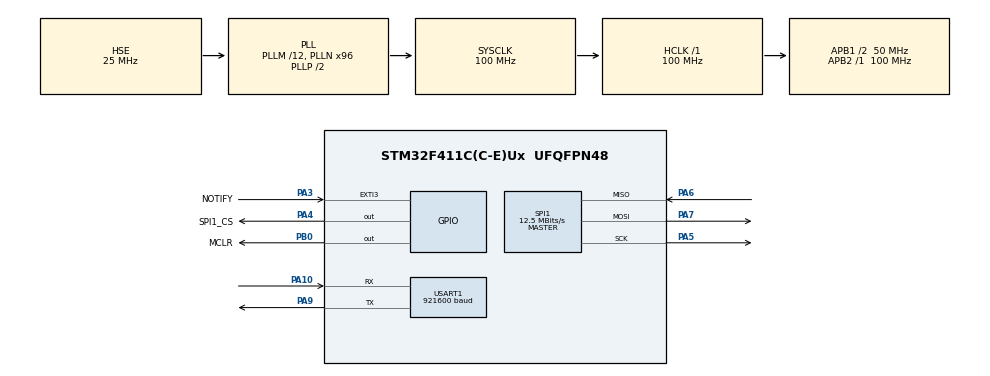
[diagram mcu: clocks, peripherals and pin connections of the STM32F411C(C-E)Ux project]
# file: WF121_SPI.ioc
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Mcu.Family=STM32F4
Mcu.Name=STM32F411C(C-E)Ux
Mcu.Package=UFQFPN48
NVIC.EXTI3_IRQn=true\:5\:0\:true\:false\:true\:true\:true\:true
NVIC.PriorityGroup=NVIC_PRIORITYGROUP_4
PA10.Mode=Asynchronous
PA10.Signal=USART1_RX
PA13.Mode=Serial_Wire
PA13.Signal=SYS_JTMS-SWDIO
PA14.Mode=Serial_Wire
PA14.Signal=SYS_JTCK-SWCLK
PA3.GPIO_Label=NOTIFY
PA3.Signal=GPXTI3
PA4.GPIO_Label=SPI1_CS
PA4.GPIO_Speed=GPIO_SPEED_FREQ_VERY_HIGH
PA4.PinState=GPIO_PIN_SET
PA4.Signal=GPIO_Output
PA5.Mode=Full_Duplex_Master
PA5.Signal=SPI1_SCK
PA6.Mode=Full_Duplex_Master
PA6.Signal=SPI1_MISO
PA7.Mode=Full_Duplex_Master
PA7.Signal=SPI1_MOSI
PA9.Mode=Asynchronous
PA9.Signal=USART1_TX
PB0.GPIO_Label=MCLR
PB0.Signal=GPIO_Output
PH0\ -\ OSC_IN.Mode=HSE-External-Oscillator
PH0\ -\ OSC_IN.Signal=RCC_OSC_IN
PH1\ -\ OSC_OUT.Mode=HSE-External-Oscillator
PH1\ -\ OSC_OUT.Signal=RCC_OSC_OUT
ProjectManager.HeapSize=0x200
ProjectManager.StackSize=0x400
ProjectManager.TargetToolchain=SW4STM32
RCC.48MHZClocksFreq_Value=50000000
RCC.AHBFreq_Value=100000000
RCC.APB1CLKDivider=RCC_HCLK_DIV2
RCC.APB1Freq_Value=50000000
RCC.APB1TimFreq_Value=100000000
RCC.APB2Freq_Value=100000000
RCC.APB2TimFreq_Value=100000000
RCC.CortexFreq_Value=100000000
RCC.HCLKFreq_Value=100000000
RCC.HSE_VALUE=25000000
RCC.HSI_VALUE=16000000
RCC.LSE_VALUE=32768
RCC.PLLM=12
RCC.PLLN=96
RCC.PLLSourceVirtual=RCC_PLLSOURCE_HSE
RCC.SYSCLKFreq_VALUE=100000000
RCC.SYSCLKSource=RCC_SYSCLKSOURCE_PLLCLK
RCC.VCOOutputFreq_Value=200000000
SPI1.BaudRatePrescaler=SPI_BAUDRATEPRESCALER_8
SPI1.CLKPhase=SPI_PHASE_2EDGE
SPI1.CalculateBaudRate=12.5 MBits/s
SPI1.Direction=SPI_DIRECTION_2LINES
SPI1.Mode=SPI_MODE_MASTER
SPI1.VirtualType=VM_MASTER
USART1.BaudRate=921600
USART1.VirtualMode=VM_ASYNC
board=custom

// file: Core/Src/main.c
/* USER CODE BEGIN Header */
/**
  ******************************************************************************
  * @file           : main.c
  * @brief          : Main program body
  ******************************************************************************
  * @attention
  *
  * Copyright (c) 2022 STMicroelectronics.
  * All rights reserved.
  *
  * This software is licensed under terms that can be found in the LICENSE file
  * in the root directory of this software component.
  * If no LICENSE file comes with this software, it is provided AS-IS.
  *
  ******************************************************************************
  */
/* USER CODE END Header */
#include "main.h"
#include "spi.h"
#include "usart.h"
#include "gpio.h"

/* USER CODE BEGIN Includes */
#include "retarget.h"
#include "wifi_bglib.h"
/* USER CODE END Includes */

/* USER CODE BEGIN PD */
#define cs_high  HAL_GPIO_WritePin(SPI1_CS_GPIO_Port, SPI1_CS_Pin, GPIO_PIN_SET);
#define cs_low  HAL_GPIO_WritePin(SPI1_CS_GPIO_Port, SPI1_CS_Pin, GPIO_PIN_RESET);
/* USER CODE END PD */

/* USER CODE BEGIN PV */
uint8_t ReceivedFlag = 0;
uint8_t SendBuf[220];
uint32_t m_len_sent;

BGLIB_DEFINE()

//Notification counters
//interrupt will increment notifications
//main loop reads messages and increments notifications_handled
volatile uint32_t notifications=0;
uint32_t notifications_handled=0;
//receive buffer
uint8_t rx_buf[4096];
//temporary buffer to receive data when sending commands
uint8_t tmp_buf[256];
uint8_t tmp_idx_w=0;
uint8_t tmp_idx_r=0;

// Set IP, Netmask, Gateway and SSID
ipv4 ip_address = {.a[0] = 192, .a[1] = 168, .a[2] = 1, .a[3] = 1};
ipv4 netmask = {.a[0] = 255, .a[1] = 255, .a[2] = 255, .a[3] = 0};
ipv4 gateway = {.a[0] = 192, .a[1] = 168, .a[2] = 1, .a[3] = 1};
uint8_t SSID[12] = {'i','R','e','c','o','r','d','e','r','W','3','2'};
/* USER CODE END PV */

void SystemClock_Config(void);

/* USER CODE BEGIN 0 */
void spi_output(uint8 len1,uint8* data1,uint16 len2,uint8* data2)
{//when outputting spi message we have to buffer incoming bytes and check their validity later
    if(len1) {
        cs_low;
        HAL_SPI_TransmitReceive(&hspi1, data1, &tmp_buf[0], len1,0xFF);
//        cs_high;

    }
    if(len2) {
//        cs_low;
        HAL_SPI_TransmitReceive(&hspi1, data2, &tmp_buf[0], len2,0xFF);
        cs_high;
    }
}

char spi_read()
{//read buffered messages first
    uint8_t TxData = 0;
    uint8_t Rxdata;

    cs_low;
    HAL_SPI_TransmitReceive(&hspi1, &TxData, &Rxdata, 1,0xFF);
//    cs_high;
    return Rxdata;// get the received data
}

int read_header(uint8_t *rx)
{
    int i;
    *rx=spi_read();
    if(*rx==0)//first byte is 0, not valid message. SPI interface uses 0 as padding byte
        return -1;
    rx++;
    for(i=0;i<BGLIB_MSG_HEADER_LEN-1;i++)
    {
        *rx++=spi_read();
    }

    return 0;
}
void read_message()
{
    int n;
    struct wifi_cmd_packet *pck;
    uint8_t *rx=&rx_buf[BGLIB_MSG_HEADER_LEN];
    if(read_header(rx_buf))
        return ;//no message, return
    for(n=0;n<BGLIB_MSG_LEN(rx_buf);n++)
    {//read payload
        *rx++=spi_read();
    }

    //find message
    pck=BGLIB_MSG(rx_buf);
    switch(BGLIB_MSG_ID(rx_buf))
    {
        case wifi_evt_system_boot_id:
            //module has booted, synchronize handled notifications to received interrupts
            notifications_handled=notifications;
            printf("wifi_evt_system_boot\n");
            printf("Sending command: wifi_cmd_sme_set_operating_mode(2)\n");
            wifi_cmd_sme_set_operating_mode(2);
            return ;//return as no need to increment notifications handled
        case wifi_rsp_sme_set_operating_mode_id:
            printf("Command response received: wifi_rsp_sme_set_operating_mode_id\n");
            printf("Sending command: wifi_cmd_sme_wifi_on\n");
            wifi_cmd_sme_wifi_on();
            break;
        case wifi_rsp_sme_wifi_on_id:
            printf("Command response received: wifi_rsp_sme_wifi_on_id\n");
            break;
        case wifi_evt_sme_wifi_is_on_id:
            printf("Event received: wifi_evt_sme_wifi_is_on\n");
            printf("Sending command: wifi_cmd_sme_start_ap_mode\n");
            wifi_cmd_sme_start_ap_mode(11,0,12,SSID);
            break;
        case wifi_rsp_sme_start_ap_mode_id:
            printf("Command response received: wifi_rsp_sme_start_ap_mode_id\n");
            break;
        case wifi_evt_sme_ap_mode_started_id:
            printf("Event received: wifi_evt_sme_ap_mode_started_id\n");
//            ap_mode_started = true;
//            printf("Sending command: wifi_cmd_https_enable\n");
//            wifi_cmd_https_enable(0, 1, 0);
            break;
        case wifi_evt_tcpip_configuration_id:
            /* This event is triggered by other commands such as start_ap_mode command.
             * The ap_mode_started bool prevents it from being issued more than once. */
            printf("Event received: wifi_evt_tcpip_configuration_id\n");
//            if(!ap_mode_started) {
//                printf("Sending command: wifi_cmd_sme_start_ap_mode\n");
//                wifi_cmd_sme_start_ap_mode(11,0,11,SSID);
//            }
            break;
        case wifi_evt_tcpip_dns_configuration_id:
            printf("Event received: wifi_evt_tcpip_dns_configuration_id\n");
            break;
        case wifi_evt_sme_interface_status_id:
            printf("Event received: wifi_evt_sme_interface_status_id\n");
            printf("Sending command: wifi_cmd_https_enable\n");
            wifi_cmd_https_enable(0, 1, 0);
            break;
        case wifi_rsp_https_enable_id:
            printf("Command response received: wifi_rsp_https_enable_id\n");
            printf("Sending command: wifi_cmd_tcpip_start_tcp_server\n");
            wifi_cmd_tcpip_start_tcp_server(5001,0);//Understanding Endpoints:0 for SPI3
            break;
        case wifi_rsp_tcpip_start_tcp_server_id:
            printf("Command response received: wifi_rsp_tcpip_start_tcp_server_id, result:%d, endpoint:%d\n",pck->rsp_tcpip_start_tcp_server.result,pck->rsp_tcpip_start_tcp_server.endpoint);
            break;
        case wifi_evt_tcpip_endpoint_status_id:
            printf("Event received: wifi_evt_tcpip_endpoint_status_id, endpoint:%d, local_ip:%d\n",pck->evt_tcpip_endpoint_status.endpoint,pck->evt_tcpip_endpoint_status.local_port);
            break;
        case wifi_evt_endpoint_status_id:
            printf("Event received: wifi_evt_endpoint_status_id, endpoint:%d, type:%d, streaming:%d,destination:%d, active:%d\n",
                   pck->evt_endpoint_status.endpoint,
                   pck->evt_endpoint_status.type,
                   pck->evt_endpoint_status.streaming,
                   pck->evt_endpoint_status.destination,
                   pck->evt_endpoint_status.active);
//            if(pck->evt_endpoint_status.active == 0){
//                printf("receiving and sending of data is blocked\n");
//            }
//            else{
//                printf("receiving and sending is allowed\n");
//            }
            break;

        //client连接上
        case wifi_evt_sme_ap_client_joined_id:
            printf("Client joined with MAC %02X %02X %02X %02X %02X %02X\n",
                   BGLIB_MSG(rx_buf)->evt_sme_ap_client_joined.mac_address.addr[0],
                   BGLIB_MSG(rx_buf)->evt_sme_ap_client_joined.mac_address.addr[1],
                   BGLIB_MSG(rx_buf)->evt_sme_ap_client_joined.mac_address.addr[2],
                   BGLIB_MSG(rx_buf)->evt_sme_ap_client_joined.mac_address.addr[3],
                   BGLIB_MSG(rx_buf)->evt_sme_ap_client_joined.mac_address.addr[4],
                   BGLIB_MSG(rx_buf)->evt_sme_ap_client_joined.mac_address.addr[5]
            );
            break;
        //client断开
        case wifi_evt_sme_ap_client_left_id:
            printf("Client left with MAC %02X %02X %02X %02X %02X %02X\n",
                   BGLIB_MSG(rx_buf)->evt_sme_ap_client_joined.mac_address.addr[0],
                   BGLIB_MSG(rx_buf)->evt_sme_ap_client_joined.mac_address.addr[1],
                   BGLIB_MSG(rx_buf)->evt_sme_ap_client_joined.mac_address.addr[2],
                   BGLIB_MSG(rx_buf)->evt_sme_ap_client_joined.mac_address.addr[3],
                   BGLIB_MSG(rx_buf)->evt_sme_ap_client_joined.mac_address.addr[4],
                   BGLIB_MSG(rx_buf)->evt_sme_ap_client_joined.mac_address.addr[5]
            );
            break;

        //接收到client数据
        case wifi_evt_endpoint_data_id:
            for(int n=0; n<BGLIB_MSG(rx_buf)->evt_endpoint_data.data.len; n++) {
                printf("%c",(char)BGLIB_MSG(rx_buf)->evt_endpoint_data.data.data[n]);
            }
            if(ReceivedFlag == 0) {
                ReceivedFlag = 1;
                for (int i = 0; i < 220; ++i) {
                    SendBuf[i] = i;
                }
                wifi_cmd_endpoint_send(pck->evt_endpoint_data.endpoint,220,SendBuf);
            }

            break;
        //WF121发送完成response
        case wifi_rsp_endpoint_send_id:
//            printf("Command response received: wifi_rsp_endpoint_send_id\n");
            if(pck->rsp_endpoint_send.result == 0){//发送成功
                m_len_sent++;
                wifi_cmd_endpoint_send(pck->rsp_endpoint_send.endpoint,220,SendBuf);
            }
            else if(pck->rsp_endpoint_send.result == wifi_err_buffers_full) {
                /* WF121 buffers are full -> wait for endpoint status that indicates there's free space */
//                printf("WF121 buffers are full\n");
                wifi_cmd_endpoint_send(pck->rsp_endpoint_send.endpoint,220,SendBuf);
            }
            else{
                printf("err %d\n", pck->rsp_endpoint_send.result);
            }

            break;

        default:
            // Some events are not important so they don't need any actions
            printf("Unparsed Event\n");
            break;
    }

    notifications_handled++;
}

/* USER CODE END 0 */

int main(void)
{

  /* MCU Configuration--------------------------------------------------------*/

  /* Reset of all peripherals, Initializes the Flash interface and the Systick. */
  HAL_Init();

  /* Configure the system clock */
  SystemClock_Config();

  /* Initialize all configured peripherals */
  MX_GPIO_Init();
  MX_SPI1_Init();
  MX_USART1_UART_Init();
  /* USER CODE BEGIN 2 */
    BGLIB_INITIALIZE(spi_output);
    RetargetInit(&huart1);
    printf("Hello Word - This is WF121 SPI Demo\n");
//    wifi_cmd_system_reset(0);
    HAL_Delay(500);
    HAL_GPIO_WritePin(MCLR_GPIO_Port, MCLR_Pin, GPIO_PIN_SET);
  /* USER CODE END 2 */

  /* Infinite loop */
  while (1)
  {

    /* USER CODE BEGIN 3 */
      if((notifications>notifications_handled))
      {//if WF121 notifies of new messages, or we sent data and need to check for possible incoming messages
          read_message();
      }
  }
  /* USER CODE END 3 */
}

void SystemClock_Config(void)
{
  RCC_OscInitTypeDef RCC_OscInitStruct = {0};
  RCC_ClkInitTypeDef RCC_ClkInitStruct = {0};

  /** Configure the main internal regulator output voltage
  */
  __HAL_RCC_PWR_CLK_ENABLE();
  __HAL_PWR_VOLTAGESCALING_CONFIG(PWR_REGULATOR_VOLTAGE_SCALE1);

  /** Initializes the RCC Oscillators according to the specified parameters
  * in the RCC_OscInitTypeDef structure.
  */
  RCC_OscInitStruct.OscillatorType = RCC_OSCILLATORTYPE_HSE;
  RCC_OscInitStruct.HSEState = RCC_HSE_ON;
  RCC_OscInitStruct.PLL.PLLState = RCC_PLL_ON;
  RCC_OscInitStruct.PLL.PLLSource = RCC_PLLSOURCE_HSE;
  RCC_OscInitStruct.PLL.PLLM = 12;
  RCC_OscInitStruct.PLL.PLLN = 96;
  RCC_OscInitStruct.PLL.PLLP = RCC_PLLP_DIV2;
  RCC_OscInitStruct.PLL.PLLQ = 4;
  if (HAL_RCC_OscConfig(&RCC_OscInitStruct) != HAL_OK)
  {
    Error_Handler();
  }

  /** Initializes the CPU, AHB and APB buses clocks
  */
  RCC_ClkInitStruct.ClockType = RCC_CLOCKTYPE_HCLK|RCC_CLOCKTYPE_SYSCLK
                              |RCC_CLOCKTYPE_PCLK1|RCC_CLOCKTYPE_PCLK2;
  RCC_ClkInitStruct.SYSCLKSource = RCC_SYSCLKSOURCE_PLLCLK;
  RCC_ClkInitStruct.AHBCLKDivider = RCC_SYSCLK_DIV1;
  RCC_ClkInitStruct.APB1CLKDivider = RCC_HCLK_DIV2;
  RCC_ClkInitStruct.APB2CLKDivider = RCC_HCLK_DIV1;

  if (HAL_RCC_ClockConfig(&RCC_ClkInitStruct, FLASH_LATENCY_3) != HAL_OK)
  {
    Error_Handler();
  }
}

/* USER CODE BEGIN 4 */
void HAL_GPIO_EXTI_Callback(uint16_t GPIO_Pin)
{
    if(GPIO_Pin == NOTIFY_Pin)
    {
        notifications++;
//        printf("AA\n");
    }
}

uint16_t time_ms = 0;
void HAL_SYSTICK_Callback(void)
{
    time_ms++;
    if(time_ms == 1000*5) {
        time_ms = 0;
        printf("==**Speed: %d KB/s**==\n",m_len_sent*220/1000/5);
        m_len_sent = 0;
    }

}

/** 先将时钟源选择为内部时钟*/
//RCC_ClkInitStruct.ClockType = RCC_CLOCKTYPE_SYSCLK;
//RCC_ClkInitStruct.SYSCLKSource = RCC_SYSCLKSOURCE_HSI;
//if (HAL_RCC_ClockConfig(&RCC_ClkInitStruct, FLASH_LATENCY_5) != HAL_OK)
//{
//  Error_Handler();
//}
/* USER CODE END 4 */

void Error_Handler(void)
{
  __disable_irq();
  while (1)
  {
  }
}
